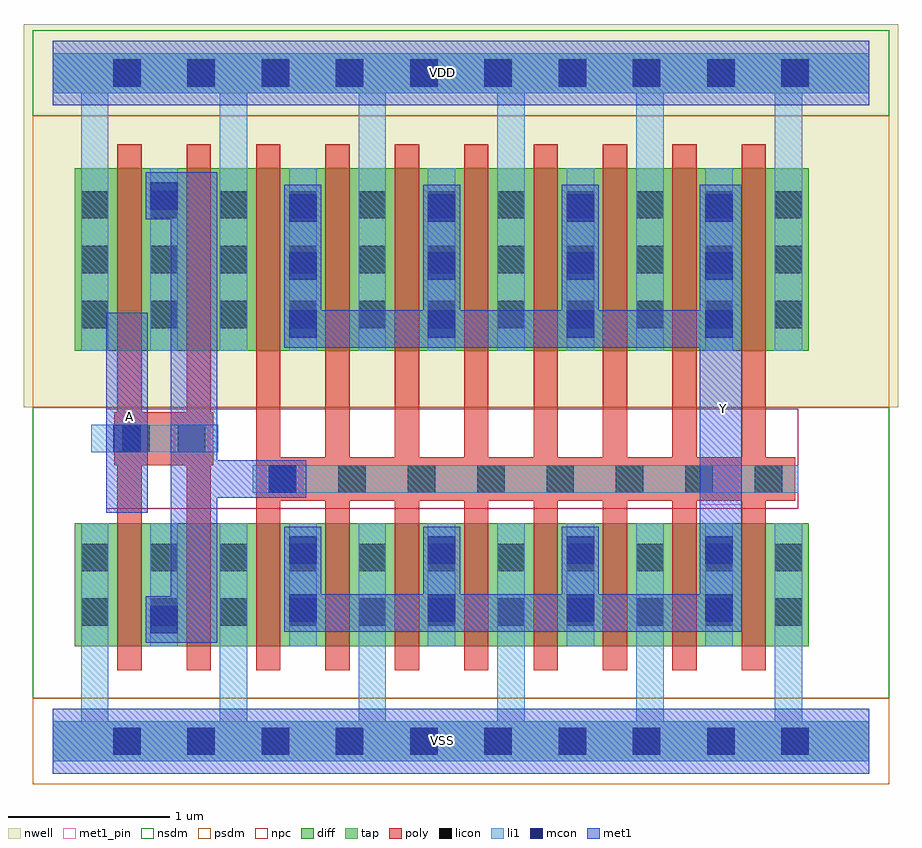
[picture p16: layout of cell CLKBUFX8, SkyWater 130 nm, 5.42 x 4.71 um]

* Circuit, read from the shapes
.subckt CLKBUFX8 A VDD VSS Y
XM1 n1 A VSS VSS sky130_fd_pr__nfet_01v8 w=0.76 l=0.15 m=2
XM2 Y n1 VSS VSS sky130_fd_pr__nfet_01v8 w=0.76 l=0.15 m=8
XM3 n1 A VDD VDD sky130_fd_pr__pfet_01v8 w=1.13 l=0.15 m=2
XM4 Y n1 VDD VDD sky130_fd_pr__pfet_01v8 w=1.13 l=0.15 m=8
.ends

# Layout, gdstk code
from math import pi, radians
import gdstk
lib = gdstk.Library(unit=1e-6, precision=1e-09)
def R(c, l, rs):  # rectangles x0, y0, x1, y1
    for r in rs: c.add(gdstk.rectangle(r[:2], r[2:], *l))
def A(c, l, x, y, w, h, nx, ny, dx, dy):  # array of equal rectangles
    R(c, l, [(x+i*dx, y+j*dy, x+i*dx+w, y+j*dy+h) for i in range(nx) for j in range(ny)])
nwell = (64, 20)
diff = (65, 20)
tap = (65, 44)
poly = (66, 20)
licon = (66, 44)
li1 = (67, 20)
mcon = (67, 44)
met1_pin = (68, 16)
met1 = (68, 20)
nsdm = (93, 44)
psdm = (94, 20)
npc = (95, 20)

nfet_01v8_cdns_716492285 = lib.new_cell('nfet_01v8_CDNS_71649228522206')
A(nfet_01v8_cdns_716492285, diff, 0, 0, 0.15, 0.76, 8, 1, 0.43, 0)
A(nfet_01v8_cdns_716492285, diff, 0.15, 0, 0.28, 0.76, 7, 1, 0.43, 0)
R(nfet_01v8_cdns_716492285, diff, [(-0.055,0,0,0.76), (3.16,0,3.425,0.76)])
A(nfet_01v8_cdns_716492285, poly, 0, -0.15, 0.15, 0.055, 8, 2, 0.43, 1.005)
A(nfet_01v8_cdns_716492285, poly, 0, -0.095, 0.15, 0.095, 8, 2, 0.43, 0.855)
A(nfet_01v8_cdns_716492285, poly, 0, 0, 0.15, 0.76, 8, 1, 0.43, 0)
A(nfet_01v8_cdns_716492285, licon, 0.205, 0.125, 0.17, 0.17, 8, 2, 0.43, 0.34)
A(nfet_01v8_cdns_716492285, li1, 0.205, 0, 0.17, 0.76, 8, 1, 0.43, 0)
R(nfet_01v8_cdns_716492285, nsdm, [(-0.065,-0.13,3.565,0.89)])

pfet_01v8_cdns_716492285 = lib.new_cell('pfet_01v8_CDNS_7164922852267')
R(pfet_01v8_cdns_716492285, nwell, [(-0.445,-0.18,0.985,1.31)])
R(pfet_01v8_cdns_716492285, diff, [(-0.265,0,0,1.13), (0,0,0.15,1.13), (0.15,0,0.43,1.13), (0.43,0,0.58,1.13), (0.58,0,0.805,1.13)])
R(pfet_01v8_cdns_716492285, poly, [(0,-0.15,0.15,-0.095), (0.43,-0.15,0.58,-0.095), (0,-0.095,0.15,0), (0.43,-0.095,0.58,0), (0,0,0.15,1.13), (0.43,0,0.58,1.13), (0,1.13,0.15,1.225), (0.43,1.13,0.58,1.225), (0,1.225,0.15,1.28), (0.43,1.225,0.58,1.28)])
A(pfet_01v8_cdns_716492285, licon, -0.225, 0.14, 0.17, 0.17, 3, 3, 0.43, 0.34)
A(pfet_01v8_cdns_716492285, li1, -0.225, 0, 0.17, 1.13, 3, 1, 0.43, 0)
R(pfet_01v8_cdns_716492285, psdm, [(-0.405,-0.13,0.815,1.26)])

c_nfet_01v8_cdns_716492285 = lib.new_cell('nfet_01v8_CDNS_71649228522124')
R(c_nfet_01v8_cdns_716492285, diff, [(-0.265,0,0,0.76), (0,0,0.15,0.76), (0.15,0,0.43,0.76), (0.43,0,0.58,0.76), (0.58,0,0.805,0.76)])
R(c_nfet_01v8_cdns_716492285, poly, [(0,-0.15,0.15,-0.095), (0.43,-0.15,0.58,-0.095), (0,-0.095,0.15,0), (0.43,-0.095,0.58,0), (0,0,0.15,0.76), (0.43,0,0.58,0.76), (0,0.76,0.15,0.855), (0.43,0.76,0.58,0.855), (0,0.855,0.15,0.91), (0.43,0.855,0.58,0.91)])
A(c_nfet_01v8_cdns_716492285, licon, -0.225, 0.125, 0.17, 0.17, 3, 2, 0.43, 0.34)
A(c_nfet_01v8_cdns_716492285, li1, -0.225, 0, 0.17, 0.76, 3, 1, 0.43, 0)
R(c_nfet_01v8_cdns_716492285, nsdm, [(-0.405,-0.13,0.815,0.89)])

c_pfet_01v8_cdns_716492285 = lib.new_cell('pfet_01v8_CDNS_7164922852256')
R(c_pfet_01v8_cdns_716492285, nwell, [(-0.235,-0.18,3.605,1.31)])
A(c_pfet_01v8_cdns_716492285, diff, 0, 0, 0.15, 1.13, 8, 1, 0.43, 0)
A(c_pfet_01v8_cdns_716492285, diff, 0.15, 0, 0.28, 1.13, 7, 1, 0.43, 0)
R(c_pfet_01v8_cdns_716492285, diff, [(-0.055,0,0,1.13), (3.16,0,3.425,1.13)])
A(c_pfet_01v8_cdns_716492285, poly, 0, -0.15, 0.15, 0.055, 8, 2, 0.43, 1.375)
A(c_pfet_01v8_cdns_716492285, poly, 0, -0.095, 0.15, 0.095, 8, 2, 0.43, 1.225)
A(c_pfet_01v8_cdns_716492285, poly, 0, 0, 0.15, 1.13, 8, 1, 0.43, 0)
A(c_pfet_01v8_cdns_716492285, licon, 0.205, 0.14, 0.17, 0.17, 8, 3, 0.43, 0.34)
A(c_pfet_01v8_cdns_716492285, li1, 0.205, 0, 0.17, 1.13, 8, 1, 0.43, 0)
R(c_pfet_01v8_cdns_716492285, psdm, [(-0.065,-0.13,3.565,1.26)])

l1m1_c_cdns_716492285222 = lib.new_cell('L1M1_C_CDNS_716492285222')
R(l1m1_c_cdns_716492285222, li1, [(-0.085,-0.165,0.085,0.165)])
R(l1m1_c_cdns_716492285222, mcon, [(-0.085,-0.085,0.085,0.085)])
R(l1m1_c_cdns_716492285222, met1, [(-0.115,-0.145,0.115,0.145)])

pyl1con_c_cdns_716492285 = lib.new_cell('PYL1CON_C_CDNS_716492285220')
R(pyl1con_c_cdns_716492285, poly, [(-0.135,-0.165,0.135,0.165)])
R(pyl1con_c_cdns_716492285, licon, [(-0.085,-0.085,0.085,0.085)])
R(pyl1con_c_cdns_716492285, npc, [(-0.185,-0.185,0.185,0.185)])

l1m1_c_cdns_716492285223 = lib.new_cell('L1M1_C_CDNS_716492285223')
R(l1m1_c_cdns_716492285223, li1, [(-0.165,-0.085,0.165,0.085)])
R(l1m1_c_cdns_716492285223, mcon, [(-0.085,-0.085,0.085,0.085)])
R(l1m1_c_cdns_716492285223, met1, [(-0.115,-0.145,0.115,0.145)])

l1m1_c_cdns_716492285225 = lib.new_cell('L1M1_C_CDNS_716492285225')
R(l1m1_c_cdns_716492285225, li1, [(-0.085,-0.345,0.085,0.345)])
R(l1m1_c_cdns_716492285225, mcon, [(-0.085,-0.265,0.085,-0.095), (-0.085,0.095,0.085,0.265)])
R(l1m1_c_cdns_716492285225, met1, [(-0.115,-0.325,0.115,0.325)])

l1m1_c_cdns_716492285224 = lib.new_cell('L1M1_C_CDNS_716492285224')
R(l1m1_c_cdns_716492285224, li1, [(-0.085,-0.525,0.085,0.525)])
A(l1m1_c_cdns_716492285224, mcon, -0.085, -0.445, 0.17, 0.17, 1, 3, 0, 0.36)
R(l1m1_c_cdns_716492285224, met1, [(-0.115,-0.505,0.115,0.505)])

polyconn_cdns_7164922852 = lib.new_cell('polyConn_CDNS_7164922852297')
R(polyconn_cdns_7164922852, poly, [(-0.135,-0.165,0.135,0.165)])
R(polyconn_cdns_7164922852, licon, [(-0.085,-0.085,0.085,0.085)])
R(polyconn_cdns_7164922852, li1, [(-0.085,-0.165,0.085,0.165)])
R(polyconn_cdns_7164922852, mcon, [(-0.085,-0.085,0.085,0.085)])
R(polyconn_cdns_7164922852, met1, [(-0.115,-0.145,0.115,0.145)])
R(polyconn_cdns_7164922852, npc, [(-0.185,-0.185,0.185,0.185)])

c_pyl1con_c_cdns_716492285 = lib.new_cell('PYL1CON_C_CDNS_7164922852217')
R(c_pyl1con_c_cdns_716492285, poly, [(-0.165,-0.135,0.165,0.135)])
R(c_pyl1con_c_cdns_716492285, licon, [(-0.085,-0.085,0.085,0.085)])
R(c_pyl1con_c_cdns_716492285, npc, [(-0.185,-0.185,0.185,0.185)])

clkbufx8 = lib.new_cell('CLKBUFX8')
R(clkbufx8, nwell, [(-0.18,2.07,5.24,4.305), (-0.18,3.875,5.24,4.445)])
A(clkbufx8, licon, 0.375, -0.085, 0.17, 0.17, 10, 2, 0.46, 4.14)
A(clkbufx8, mcon, 0.375, -0.085, 0.17, 0.17, 10, 2, 0.46, 4.14)
R(clkbufx8, met1_pin, [(0.33,1.415,0.59,2.655), (4.01,1.465,4.27,2.705)])
R(clkbufx8, nsdm, [(-0.125,0.265,5.185,2.07), (-0.125,3.875,5.185,4.405), (-0.125,3.93,5.185,4.35)])
R(clkbufx8, psdm, [(-0.125,-0.265,5.185,0.265), (-0.125,-0.21,5.185,0.21), (-0.125,2.07,5.185,3.875)])
R(clkbufx8, npc, [(0.33,1.44,4.62,2.06)])
clkbufx8.add(gdstk.FlexPath([(0.38,1.875),(0.905,1.875)], 0.33, ends="flush", simple_path=True, layer=66, datatype=20))  # poly
clkbufx8.add(gdstk.FlexPath([(4.345,2.27),(4.345,1.5)], 0.15, ends="flush", simple_path=True, layer=66, datatype=20))  # poly
clkbufx8.add(gdstk.FlexPath([(3.915,2.27),(3.915,1.425)], 0.15, ends="flush", simple_path=True, layer=66, datatype=20))  # poly
clkbufx8.add(gdstk.FlexPath([(3.485,2.27),(3.485,1.44)], 0.15, ends="flush", simple_path=True, layer=66, datatype=20))  # poly
clkbufx8.add(gdstk.FlexPath([(3.055,2.27),(3.055,1.5)], 0.15, ends="flush", simple_path=True, layer=66, datatype=20))  # poly
clkbufx8.add(gdstk.FlexPath([(2.625,2.27),(2.625,1.5)], 0.15, ends="flush", simple_path=True, layer=66, datatype=20))  # poly
clkbufx8.add(gdstk.FlexPath([(2.195,2.27),(2.195,1.5)], 0.15, ends="flush", simple_path=True, layer=66, datatype=20))  # poly
clkbufx8.add(gdstk.FlexPath([(1.26,1.625),(4.56,1.625)], 0.27, ends="flush", simple_path=True, layer=66, datatype=20))  # poly
clkbufx8.add(gdstk.FlexPath([(1.765,2.27),(1.765,1.5)], 0.15, ends="flush", simple_path=True, layer=66, datatype=20))  # poly
clkbufx8.add(gdstk.FlexPath([(1.335,2.27),(1.335,1.5)], 0.15, ends="flush", simple_path=True, layer=66, datatype=20))  # poly
clkbufx8.add(gdstk.FlexPath([(0.905,2.27),(0.905,1.42)], 0.15, ends="flush", simple_path=True, layer=66, datatype=20))  # poly
clkbufx8.add(gdstk.FlexPath([(0.475,2.27),(0.475,1.5)], 0.15, ends="flush", simple_path=True, layer=66, datatype=20))  # poly
clkbufx8.add(gdstk.FlexPath([(1.24,1.625),(4.62,1.625)], 0.17, ends="flush", simple_path=True, layer=67, datatype=20))  # li1
clkbufx8.add(gdstk.FlexPath([(0.24,1.875),(1.025,1.875)], 0.17, ends="flush", simple_path=True, layer=67, datatype=20))  # li1
clkbufx8.add(gdstk.FlexPath([(4.34,0),(5.06,0)], 0.25, ends=(0.085, 0), simple_path=True, layer=67, datatype=20))  # li1
clkbufx8.add(gdstk.FlexPath([(0.69,0),(2.47,0)], 0.25, ends=(0.085, 0.085), simple_path=True, layer=67, datatype=20))  # li1
clkbufx8.add(gdstk.FlexPath([(2.47,0),(3.42,0)], 0.25, ends=(0.085, 0.085), simple_path=True, layer=67, datatype=20))  # li1
clkbufx8.add(gdstk.FlexPath([(3.42,0),(4.34,0)], 0.25, ends=(0.085, 0.085), simple_path=True, layer=67, datatype=20))  # li1
clkbufx8.add(gdstk.FlexPath([(0,0),(0.69,0)], 0.25, ends=(0, 0.085), simple_path=True, layer=67, datatype=20))  # li1
clkbufx8.add(gdstk.FlexPath([(2.47,4.14),(3.42,4.14)], 0.25, ends=(0.085, 0.085), simple_path=True, layer=67, datatype=20))  # li1
clkbufx8.add(gdstk.FlexPath([(0,4.14),(0.69,4.14)], 0.25, ends=(0, 0.085), simple_path=True, layer=67, datatype=20))  # li1
clkbufx8.add(gdstk.FlexPath([(3.42,4.14),(4.34,4.14)], 0.25, ends=(0.085, 0.085), simple_path=True, layer=67, datatype=20))  # li1
clkbufx8.add(gdstk.FlexPath([(0.69,4.14),(2.47,4.14)], 0.25, ends=(0.085, 0.085), simple_path=True, layer=67, datatype=20))  # li1
clkbufx8.add(gdstk.FlexPath([(4.34,4.14),(5.06,4.14)], 0.25, ends=(0.085, 0), simple_path=True, layer=67, datatype=20))  # li1
clkbufx8.add(gdstk.FlexPath([(2.84,0.59),(2.84,0)], 0.17, ends="flush", simple_path=True, layer=67, datatype=20))  # li1
clkbufx8.add(gdstk.FlexPath([(1.98,0.59),(1.98,0)], 0.17, ends=(0, 0.085), simple_path=True, layer=67, datatype=20))  # li1
clkbufx8.add(gdstk.FlexPath([(1.12,0.59),(1.12,0)], 0.17, ends="flush", simple_path=True, layer=67, datatype=20))  # li1
clkbufx8.add(gdstk.FlexPath([(0.26,0),(0.215,0)], 0.17, ends=(0.085, 0), simple_path=True, layer=67, datatype=20))  # li1
clkbufx8.add(gdstk.FlexPath([(0.26,0.59),(0.26,0)], 0.17, ends=(0, 0.085), simple_path=True, layer=67, datatype=20))  # li1
clkbufx8.add(gdstk.FlexPath([(0.26,4.14),(0.215,4.14)], 0.17, ends=(0.085, 0), simple_path=True, layer=67, datatype=20))  # li1
clkbufx8.add(gdstk.FlexPath([(0.26,3.55),(0.26,4.14)], 0.17, ends=(0, 0.085), simple_path=True, layer=67, datatype=20))  # li1
clkbufx8.add(gdstk.FlexPath([(4.56,3.55),(4.56,4.14)], 0.17, ends="flush", simple_path=True, layer=67, datatype=20))  # li1
clkbufx8.add(gdstk.FlexPath([(3.7,3.55),(3.7,4.14)], 0.17, ends=(0, 0.085), simple_path=True, layer=67, datatype=20))  # li1
clkbufx8.add(gdstk.FlexPath([(2.84,3.55),(2.84,4.14)], 0.17, ends="flush", simple_path=True, layer=67, datatype=20))  # li1
clkbufx8.add(gdstk.FlexPath([(1.98,3.55),(1.98,4.14)], 0.17, ends=(0, 0.085), simple_path=True, layer=67, datatype=20))  # li1
clkbufx8.add(gdstk.FlexPath([(1.12,3.55),(1.12,4.14)], 0.17, ends="flush", simple_path=True, layer=67, datatype=20))  # li1
clkbufx8.add(gdstk.FlexPath([(4.56,0.59),(4.56,0)], 0.17, ends="flush", simple_path=True, layer=67, datatype=20))  # li1
clkbufx8.add(gdstk.FlexPath([(3.7,0.59),(3.7,0)], 0.17, ends=(0, 0.085), simple_path=True, layer=67, datatype=20))  # li1
clkbufx8.add(gdstk.FlexPath([(0,4.14),(5.06,4.14)], 0.25, ends="flush", simple_path=True, layer=65, datatype=44))  # tap
clkbufx8.add(gdstk.FlexPath([(0,0),(5.06,0)], 0.25, ends="flush", simple_path=True, layer=65, datatype=44))  # tap
clkbufx8.add(gdstk.FlexPath([(0.875,1.625),(0.875,3.525)], 0.29, ends=(0.115, 0), simple_path=True, layer=68, datatype=20))  # met1
clkbufx8.add(gdstk.FlexPath([(1.415,1.625),(0.875,1.625)], 0.23, ends=(0, 0.145), simple_path=True, layer=68, datatype=20))  # met1
clkbufx8.add(gdstk.FlexPath([(4.015,0.795),(1.55,0.795)], 0.23, ends=(0, 0.115), simple_path=True, layer=68, datatype=20))  # met1
clkbufx8.add(gdstk.FlexPath([(2.41,0.795),(2.41,1.005)], 0.23, ends=(0.115, 0), simple_path=True, layer=68, datatype=20))  # met1
clkbufx8.add(gdstk.FlexPath([(1.55,2.555),(4.13,2.555)], 0.23, ends="extended", simple_path=True, layer=68, datatype=20))  # met1
clkbufx8.add(gdstk.FlexPath([(1.55,2.945),(1.55,2.555)], 0.23, ends=(0, 0.115), simple_path=True, layer=68, datatype=20))  # met1
clkbufx8.add(gdstk.FlexPath([(0.46,1.415),(0.46,2.655)], 0.26, ends="flush", simple_path=True, layer=68, datatype=20))  # met1
clkbufx8.add(gdstk.FlexPath([(4.14,0.68),(4.14,3.45)], 0.26, ends="flush", simple_path=True, layer=68, datatype=20))  # met1
clkbufx8.add(gdstk.FlexPath([(0.875,1.625),(0.875,0.61)], 0.29, ends=(0.115, 0), simple_path=True, layer=68, datatype=20))  # met1
clkbufx8.add(gdstk.FlexPath([(1.55,0.795),(1.55,1.005)], 0.23, ends=(0.115, 0), simple_path=True, layer=68, datatype=20))  # met1
clkbufx8.add(gdstk.FlexPath([(0,0),(5.06,0)], 0.4, ends="flush", simple_path=True, layer=68, datatype=20))  # met1
clkbufx8.add(gdstk.FlexPath([(0,4.14),(5.06,4.14)], 0.4, ends="flush", simple_path=True, layer=68, datatype=20))  # met1
clkbufx8.add(gdstk.FlexPath([(0,4.14),(5.06,4.14)], 0.4, ends="flush", simple_path=True, layer=68, datatype=16))  # met1_pin
clkbufx8.add(gdstk.FlexPath([(0,0),(5.06,0)], 0.4, ends="flush", simple_path=True, layer=68, datatype=16))  # met1_pin
clkbufx8.add(gdstk.Reference(nfet_01v8_cdns_716492285, (1.26,0.59)))
clkbufx8.add(gdstk.Reference(pfet_01v8_cdns_716492285, (0.4,2.42)))
clkbufx8.add(gdstk.Reference(c_nfet_01v8_cdns_716492285, (0.4,0.59)))
clkbufx8.add(gdstk.Reference(c_pfet_01v8_cdns_716492285, (1.26,2.42)))
clkbufx8.add(gdstk.Reference(l1m1_c_cdns_716492285222, (0.69,3.38)))
clkbufx8.add(gdstk.Reference(l1m1_c_cdns_716492285222, (0.69,0.755)))
clkbufx8.add(gdstk.Reference(pyl1con_c_cdns_716492285, (4.435,1.625), rotation=3*pi/2, x_reflection=True))
clkbufx8.add(gdstk.Reference(pyl1con_c_cdns_716492285, (4.005,1.625), rotation=3*pi/2, x_reflection=True))
clkbufx8.add(gdstk.Reference(pyl1con_c_cdns_716492285, (3.575,1.625), rotation=3*pi/2, x_reflection=True))
clkbufx8.add(gdstk.Reference(pyl1con_c_cdns_716492285, (3.145,1.625), rotation=3*pi/2, x_reflection=True))
clkbufx8.add(gdstk.Reference(pyl1con_c_cdns_716492285, (2.715,1.625), rotation=3*pi/2, x_reflection=True))
clkbufx8.add(gdstk.Reference(pyl1con_c_cdns_716492285, (2.285,1.625), rotation=3*pi/2, x_reflection=True))
clkbufx8.add(gdstk.Reference(pyl1con_c_cdns_716492285, (1.855,1.625), rotation=3*pi/2, x_reflection=True))
clkbufx8.add(gdstk.Reference(l1m1_c_cdns_716492285223, (0.46,1.875), x_reflection=True))
clkbufx8.add(gdstk.Reference(l1m1_c_cdns_716492285225, (4.13,1.005)))
clkbufx8.add(gdstk.Reference(l1m1_c_cdns_716492285225, (3.27,1.005)))
clkbufx8.add(gdstk.Reference(l1m1_c_cdns_716492285225, (2.41,1.005)))
clkbufx8.add(gdstk.Reference(l1m1_c_cdns_716492285225, (1.55,1.005)))
clkbufx8.add(gdstk.Reference(l1m1_c_cdns_716492285224, (4.13,2.945)))
clkbufx8.add(gdstk.Reference(l1m1_c_cdns_716492285224, (3.27,2.945)))
clkbufx8.add(gdstk.Reference(l1m1_c_cdns_716492285224, (2.41,2.945)))
clkbufx8.add(gdstk.Reference(l1m1_c_cdns_716492285224, (1.55,2.945)))
clkbufx8.add(gdstk.Reference(polyconn_cdns_7164922852, (1.425,1.625), rotation=3*pi/2))
clkbufx8.add(gdstk.Reference(c_pyl1con_c_cdns_716492285, (0.86,1.875), rotation=3*pi/2, x_reflection=True))
clkbufx8.add(gdstk.Reference(c_pyl1con_c_cdns_716492285, (0.515,1.875), rotation=3*pi/2, x_reflection=True))
clkbufx8.add(gdstk.Label('VDD', (2.415,4.145), layer=68, texttype=5))
clkbufx8.add(gdstk.Label('Y', (4.155,2.06), layer=68, texttype=5))
clkbufx8.add(gdstk.Label('VSS', (2.415,0.005), layer=68, texttype=5))
clkbufx8.add(gdstk.Label('A', (0.475,2.01), layer=68, texttype=5))

lib.write_gds('CLKBUFX8.gds')
